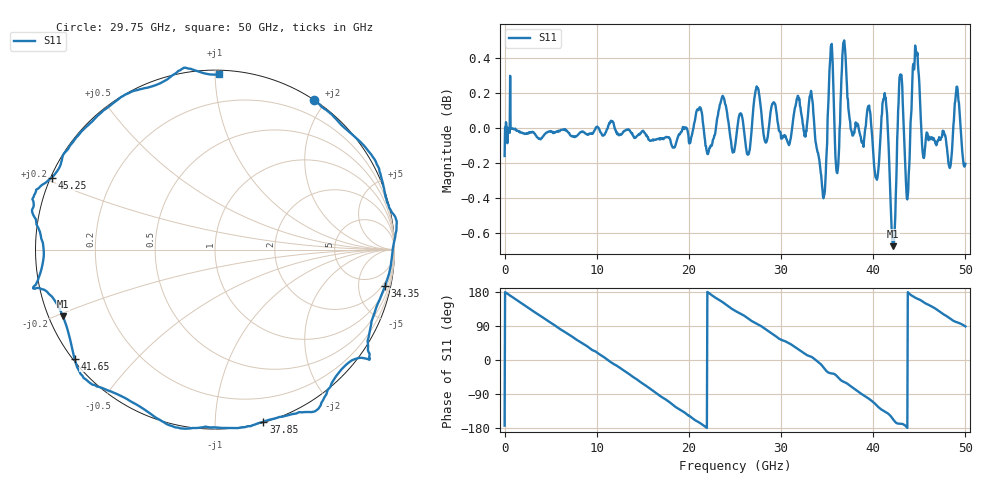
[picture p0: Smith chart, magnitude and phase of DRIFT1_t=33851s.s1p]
!Created with skrf (http://scikit-rf.org).
# Hz S RI R 50.0
!freq ReS11 ImS11
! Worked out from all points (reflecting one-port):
!   1001 points, 300 kHz to 50 GHz, reference 50 ohm
!   lowest |S11| = -0.7 dB at 42.15 GHz (marker M1), VSWR 25.64, Z = 2.04 - j10.5 ohm
!   phase of S11 starts at -173 deg and turns -818 deg over the sweep
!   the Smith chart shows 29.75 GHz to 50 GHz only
!   S11 on the Smith chart (normalised r, x): 29.75 GHz: 0.00, +1.86; 34.35 GHz: 1.38, -9.27; 37.85 GHz: 0.01, -1.32; 41.65 GHz: 0.01, -0.34; 45.25 GHz: 0.00, +0.21; 50 GHz: 0.02, +1.02
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300000  -0.9748 -0.1153
1.450291e9  -0.9123 0.4046
3.25028e9  -0.592 0.8013
6.250262e9  0.2014 0.9783
9.450243e9  0.8862 0.4548
1.250022e10  0.9323 -0.3487
1.580021e10  0.2386 -0.9623
1.73502e10  -0.2098 -0.9711
1.875019e10  -0.5972 -0.7935
2.150017e10  -0.9924 -0.1543
2.345016e10  -0.9287 0.4149
2.500015e10  -0.6338 0.7577
2.740014e10  -0.0971 1.022
2.975012e10  0.5499 0.8337
3.125011e10  0.7864 0.6219
3.31501e10  1.006 0.1752
3.435009e10  0.948 -0.2024
3.520009e10  0.8553 -0.5705
3.750008e10  0.3754 -0.9311
3.785007e10  0.2694 -0.9585
3.960006e10  -0.2377 -0.9839
4.165005e10  -0.7822 -0.6077
4.215005e10  -0.8469 -0.3718
4.290004e10  -1.012 -0.2168
4.375004e10  -0.9562 0.0149
4.525003e10  -0.9104 0.4015
4.770001e10  -0.4918 0.8668
5e10  0.0238 0.9763
